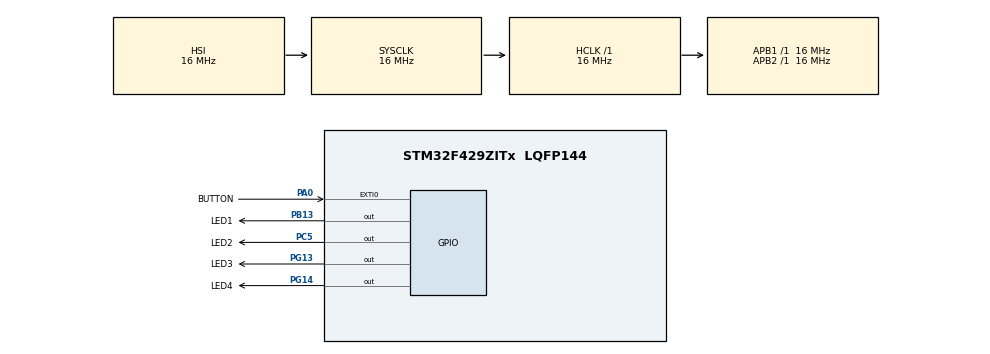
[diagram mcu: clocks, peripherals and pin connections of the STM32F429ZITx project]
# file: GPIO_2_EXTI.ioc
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Mcu.Family=STM32F4
Mcu.Name=STM32F429ZITx
Mcu.Package=LQFP144
NVIC.EXTI0_IRQn=true\:0\:0\:false\:false\:true\:true
NVIC.PriorityGroup=NVIC_PRIORITYGROUP_4
PA0/WKUP.GPIO_Label=BUTTON
PA0/WKUP.GPIO_ModeDefaultEXTI=GPIO_MODE_IT_RISING
PA0/WKUP.Signal=GPXTI0
PB13.GPIO_Label=LED1
PB13.Signal=GPIO_Output
PC5.GPIO_Label=LED2
PC5.Signal=GPIO_Output
PG13.GPIO_Label=LED3
PG13.Signal=GPIO_Output
PG14.GPIO_Label=LED4
PG14.Signal=GPIO_Output
ProjectManager.HeapSize=0x200
ProjectManager.StackSize=0x400
ProjectManager.TargetToolchain=SW4STM32
RCC.AHBFreq_Value=16000000
RCC.APB1Freq_Value=16000000
RCC.APB2Freq_Value=16000000
RCC.CortexFreq_Value=16000000
RCC.HSE_VALUE=25000000
RCC.HSI_VALUE=16000000
RCC.LSE_VALUE=32768
RCC.SYSCLKFreq_VALUE=16000000
RCC.VCOOutputFreq_Value=192000000
board=custom

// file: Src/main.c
/**
  ******************************************************************************
  * @file           : main.c
  * @brief          : Main program body
  ******************************************************************************
  ** This notice applies to any and all portions of this file
  * that are not between comment pairs USER CODE BEGIN and
  * USER CODE END. Other portions of this file, whether
  * inserted by the user or by software development tools
  * are owned by their respective copyright owners.
  *
  * COPYRIGHT(c) 2018 STMicroelectronics
  *
  * Redistribution and use in source and binary forms, with or without modification,
  * are permitted provided that the following conditions are met:
  *   1. Redistributions of source code must retain the above copyright notice,
  *      this list of conditions and the following disclaimer.
  *   2. Redistributions in binary form must reproduce the above copyright notice,
  *      this list of conditions and the following disclaimer in the documentation
  *      and/or other materials provided with the distribution.
  *   3. Neither the name of STMicroelectronics nor the names of its contributors
  *      may be used to endorse or promote products derived from this software
  *      without specific prior written permission.
  *
  * THIS SOFTWARE IS PROVIDED BY THE COPYRIGHT HOLDERS AND CONTRIBUTORS "AS IS"
  * AND ANY EXPRESS OR IMPLIED WARRANTIES, INCLUDING, BUT NOT LIMITED TO, THE
  * IMPLIED WARRANTIES OF MERCHANTABILITY AND FITNESS FOR A PARTICULAR PURPOSE ARE
  * DISCLAIMED. IN NO EVENT SHALL THE COPYRIGHT HOLDER OR CONTRIBUTORS BE LIABLE
  * FOR ANY DIRECT, INDIRECT, INCIDENTAL, SPECIAL, EXEMPLARY, OR CONSEQUENTIAL
  * DAMAGES (INCLUDING, BUT NOT LIMITED TO, PROCUREMENT OF SUBSTITUTE GOODS OR
  * SERVICES; LOSS OF USE, DATA, OR PROFITS; OR BUSINESS INTERRUPTION) HOWEVER
  * CAUSED AND ON ANY THEORY OF LIABILITY, WHETHER IN CONTRACT, STRICT LIABILITY,
  * OR TORT (INCLUDING NEGLIGENCE OR OTHERWISE) ARISING IN ANY WAY OUT OF THE USE
  * OF THIS SOFTWARE, EVEN IF ADVISED OF THE POSSIBILITY OF SUCH DAMAGE.
  *
  ******************************************************************************
  */
#include "main.h"
#include "stm32f4xx_hal.h"

/* USER CODE BEGIN PV */
/* Private variables ---------------------------------------------------------*/

/* USER CODE END PV */

void SystemClock_Config(void);
static void MX_GPIO_Init(void);
volatile int state = 0;
void HAL_GPIO_EXTI_Callback(uint16_t GPIO_Pin);
/* USER CODE BEGIN PFP */
/* Private function prototypes -----------------------------------------------*/

/* USER CODE END PFP */

int main(void)
{

  /* MCU Configuration----------------------------------------------------------*/

  /* Reset of all peripherals, Initializes the Flash interface and the Systick. */
  HAL_Init();

  /* Configure the system clock */
  SystemClock_Config();

  /* Initialize all configured peripherals */
  MX_GPIO_Init();

  /* Infinite loop */
  /* USER CODE BEGIN WHILE */
  while (1)
  {
	  switch(state)
	  {
	  case 0:
		  HAL_GPIO_WritePin(LED1_GPIO_Port, LED1_Pin, GPIO_PIN_RESET);
		  HAL_GPIO_WritePin(LED2_GPIO_Port, LED2_Pin, GPIO_PIN_RESET);
		  HAL_GPIO_WritePin(LED3_GPIO_Port, LED3_Pin, GPIO_PIN_RESET);
		  HAL_GPIO_WritePin(LED4_GPIO_Port, LED4_Pin, GPIO_PIN_RESET);
		  break;

	  case 1:
		  HAL_GPIO_WritePin(LED1_GPIO_Port, LED1_Pin, GPIO_PIN_SET);
		  HAL_GPIO_WritePin(LED2_GPIO_Port, LED2_Pin, GPIO_PIN_RESET);
		  HAL_GPIO_WritePin(LED3_GPIO_Port, LED3_Pin, GPIO_PIN_RESET);
		  HAL_GPIO_WritePin(LED4_GPIO_Port, LED4_Pin, GPIO_PIN_RESET);
		  break;

	  case 2:
		  HAL_GPIO_WritePin(LED1_GPIO_Port, LED1_Pin, GPIO_PIN_SET);
		  HAL_GPIO_WritePin(LED2_GPIO_Port, LED2_Pin, GPIO_PIN_SET);
		  HAL_GPIO_WritePin(LED3_GPIO_Port, LED3_Pin, GPIO_PIN_RESET);
		  HAL_GPIO_WritePin(LED4_GPIO_Port, LED4_Pin, GPIO_PIN_RESET);
		  break;

	  case 3:
		  HAL_GPIO_WritePin(LED1_GPIO_Port, LED1_Pin, GPIO_PIN_SET);
		  HAL_GPIO_WritePin(LED2_GPIO_Port, LED2_Pin, GPIO_PIN_SET);
		  HAL_GPIO_WritePin(LED3_GPIO_Port, LED3_Pin, GPIO_PIN_SET);
		  HAL_GPIO_WritePin(LED4_GPIO_Port, LED4_Pin, GPIO_PIN_RESET);
		  break;

	  case 4:
		  HAL_GPIO_WritePin(LED1_GPIO_Port, LED1_Pin, GPIO_PIN_SET);
		  HAL_GPIO_WritePin(LED2_GPIO_Port, LED2_Pin, GPIO_PIN_SET);
		  HAL_GPIO_WritePin(LED3_GPIO_Port, LED3_Pin, GPIO_PIN_SET);
		  HAL_GPIO_WritePin(LED4_GPIO_Port, LED4_Pin, GPIO_PIN_SET);
		  break;

	  case 5:
		  HAL_GPIO_WritePin(LED1_GPIO_Port, LED1_Pin, GPIO_PIN_RESET);
		  HAL_GPIO_WritePin(LED2_GPIO_Port, LED2_Pin, GPIO_PIN_SET);
		  HAL_GPIO_WritePin(LED3_GPIO_Port, LED3_Pin, GPIO_PIN_SET);
		  HAL_GPIO_WritePin(LED4_GPIO_Port, LED4_Pin, GPIO_PIN_SET);
		  break;

	  case 6:
		  HAL_GPIO_WritePin(LED1_GPIO_Port, LED1_Pin, GPIO_PIN_RESET);
		  HAL_GPIO_WritePin(LED2_GPIO_Port, LED2_Pin, GPIO_PIN_RESET);
		  HAL_GPIO_WritePin(LED3_GPIO_Port, LED3_Pin, GPIO_PIN_SET);
		  HAL_GPIO_WritePin(LED4_GPIO_Port, LED4_Pin, GPIO_PIN_SET);
		  break;

	  case 7:
		  HAL_GPIO_WritePin(LED1_GPIO_Port, LED1_Pin, GPIO_PIN_RESET);
		  HAL_GPIO_WritePin(LED2_GPIO_Port, LED2_Pin, GPIO_PIN_RESET);
		  HAL_GPIO_WritePin(LED3_GPIO_Port, LED3_Pin, GPIO_PIN_RESET);
		  HAL_GPIO_WritePin(LED4_GPIO_Port, LED4_Pin, GPIO_PIN_SET);
		  break;

	  }
  /* USER CODE END WHILE */

  }

}

void SystemClock_Config(void)
{

  RCC_OscInitTypeDef RCC_OscInitStruct;
  RCC_ClkInitTypeDef RCC_ClkInitStruct;

    /**Configure the main internal regulator output voltage
    */
  __HAL_RCC_PWR_CLK_ENABLE();

  __HAL_PWR_VOLTAGESCALING_CONFIG(PWR_REGULATOR_VOLTAGE_SCALE3);

    /**Initializes the CPU, AHB and APB busses clocks
    */
  RCC_OscInitStruct.OscillatorType = RCC_OSCILLATORTYPE_HSI;
  RCC_OscInitStruct.HSIState = RCC_HSI_ON;
  RCC_OscInitStruct.HSICalibrationValue = 16;
  RCC_OscInitStruct.PLL.PLLState = RCC_PLL_NONE;
  if (HAL_RCC_OscConfig(&RCC_OscInitStruct) != HAL_OK)
  {
    _Error_Handler(__FILE__, __LINE__);
  }

    /**Initializes the CPU, AHB and APB busses clocks
    */
  RCC_ClkInitStruct.ClockType = RCC_CLOCKTYPE_HCLK|RCC_CLOCKTYPE_SYSCLK
                              |RCC_CLOCKTYPE_PCLK1|RCC_CLOCKTYPE_PCLK2;
  RCC_ClkInitStruct.SYSCLKSource = RCC_SYSCLKSOURCE_HSI;
  RCC_ClkInitStruct.AHBCLKDivider = RCC_SYSCLK_DIV1;
  RCC_ClkInitStruct.APB1CLKDivider = RCC_HCLK_DIV1;
  RCC_ClkInitStruct.APB2CLKDivider = RCC_HCLK_DIV1;

  if (HAL_RCC_ClockConfig(&RCC_ClkInitStruct, FLASH_LATENCY_0) != HAL_OK)
  {
    _Error_Handler(__FILE__, __LINE__);
  }

    /**Configure the Systick interrupt time
    */
  HAL_SYSTICK_Config(HAL_RCC_GetHCLKFreq()/1000);

    /**Configure the Systick
    */
  HAL_SYSTICK_CLKSourceConfig(SYSTICK_CLKSOURCE_HCLK);

  /* SysTick_IRQn interrupt configuration */
  HAL_NVIC_SetPriority(SysTick_IRQn, 0, 0);
}

/** Configure pins as
        * Analog
        * Input
        * Output
        * EVENT_OUT
        * EXTI
*/
static void MX_GPIO_Init(void)
{

  GPIO_InitTypeDef GPIO_InitStruct;

  /* GPIO Ports Clock Enable */
  __HAL_RCC_GPIOA_CLK_ENABLE();
  __HAL_RCC_GPIOC_CLK_ENABLE();
  __HAL_RCC_GPIOB_CLK_ENABLE();
  __HAL_RCC_GPIOG_CLK_ENABLE();

  /*Configure GPIO pin Output Level */
  HAL_GPIO_WritePin(LED2_GPIO_Port, LED2_Pin, GPIO_PIN_RESET);

  /*Configure GPIO pin Output Level */
  HAL_GPIO_WritePin(LED1_GPIO_Port, LED1_Pin, GPIO_PIN_RESET);

  /*Configure GPIO pin Output Level */
  HAL_GPIO_WritePin(GPIOG, LED3_Pin|LED4_Pin, GPIO_PIN_RESET);

  /*Configure GPIO pin : BUTTON_Pin */
  GPIO_InitStruct.Pin = BUTTON_Pin;
  GPIO_InitStruct.Mode = GPIO_MODE_IT_RISING;
  GPIO_InitStruct.Pull = GPIO_NOPULL;
  HAL_GPIO_Init(BUTTON_GPIO_Port, &GPIO_InitStruct);

  /*Configure GPIO pin : LED2_Pin */
  GPIO_InitStruct.Pin = LED2_Pin;
  GPIO_InitStruct.Mode = GPIO_MODE_OUTPUT_PP;
  GPIO_InitStruct.Pull = GPIO_NOPULL;
  GPIO_InitStruct.Speed = GPIO_SPEED_FREQ_LOW;
  HAL_GPIO_Init(LED2_GPIO_Port, &GPIO_InitStruct);

  /*Configure GPIO pin : LED1_Pin */
  GPIO_InitStruct.Pin = LED1_Pin;
  GPIO_InitStruct.Mode = GPIO_MODE_OUTPUT_PP;
  GPIO_InitStruct.Pull = GPIO_NOPULL;
  GPIO_InitStruct.Speed = GPIO_SPEED_FREQ_LOW;
  HAL_GPIO_Init(LED1_GPIO_Port, &GPIO_InitStruct);

  /*Configure GPIO pins : LED3_Pin LED4_Pin */
  GPIO_InitStruct.Pin = LED3_Pin|LED4_Pin;
  GPIO_InitStruct.Mode = GPIO_MODE_OUTPUT_PP;
  GPIO_InitStruct.Pull = GPIO_NOPULL;
  GPIO_InitStruct.Speed = GPIO_SPEED_FREQ_LOW;
  HAL_GPIO_Init(GPIOG, &GPIO_InitStruct);

  /* EXTI interrupt init*/
  HAL_NVIC_SetPriority(EXTI0_IRQn, 0, 0);
  HAL_NVIC_EnableIRQ(EXTI0_IRQn);

}

/* USER CODE BEGIN 4 */
void HAL_GPIO_EXTI_Callback(uint16_t GPIO_Pin)
{
	if(GPIO_Pin == GPIO_PIN_0) state += 1;
	if(state > 7) state = 0;
}
/* USER CODE END 4 */

void _Error_Handler(char *file, int line)
{
  while(1)
  {
  }
}

/************************ (C) COPYRIGHT STMicroelectronics *****END OF FILE****/
